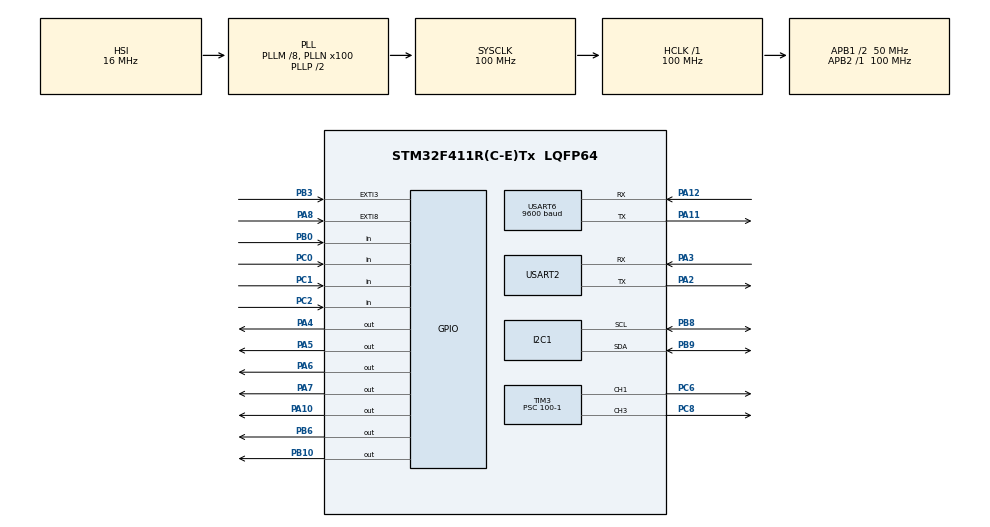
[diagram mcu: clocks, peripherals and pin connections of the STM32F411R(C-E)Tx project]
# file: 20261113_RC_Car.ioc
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FREERTOS.Mutexes01=lcdMutex,Dynamic,NULL,Available;sensorMutex,Dynamic,NULL,Available
FREERTOS.Queues01=btnQue,16,uint32_t,0,Dynamic,NULL,NULL;commQueue,16,uint32_t,0,Dynamic,NULL,NULL
FREERTOS.Tasks01=defaultTask,0,128,StartDefaultTask,Default,NULL,Dynamic,NULL,NULL;MotorTask,0,128,StartMotorTask,Default,NULL,Dynamic,NULL,NULL;ButtonTask,0,128,StartButtonTask,Default,NULL,Dynamic,NULL,NULL;CommTask,0,128,StartCommTask,Default,NULL,Dynamic,NULL,NULL;SensorTask,1,256,StartSensorTask,Default,NULL,Dynamic,NULL,NULL
FREERTOS.configUSE_NEWLIB_REENTRANT=1
Mcu.Family=STM32F4
Mcu.Name=STM32F411R(C-E)Tx
Mcu.Package=LQFP64
NVIC.EXTI3_IRQn=true\:5\:0\:false\:false\:true\:true\:true\:true\:true
NVIC.EXTI9_5_IRQn=true\:5\:0\:false\:false\:true\:true\:true\:true\:true
NVIC.PriorityGroup=NVIC_PRIORITYGROUP_4
NVIC.TIM1_UP_TIM10_IRQn=true\:15\:0\:false\:false\:true\:false\:false\:true\:true
NVIC.TimeBase=TIM1_UP_TIM10_IRQn
NVIC.TimeBaseIP=TIM10
NVIC.USART2_IRQn=true\:5\:0\:false\:false\:true\:true\:true\:true\:true
NVIC.USART6_IRQn=true\:5\:0\:false\:false\:true\:true\:true\:true\:true
PA10.Signal=GPIO_Output
PA11.Mode=Asynchronous
PA11.Signal=USART6_TX
PA12.Mode=Asynchronous
PA12.Signal=USART6_RX
PA13.Mode=Serial_Wire
PA13.Signal=SYS_JTMS-SWDIO
PA14.Mode=Serial_Wire
PA14.Signal=SYS_JTCK-SWCLK
PA2.Mode=Asynchronous
PA2.Signal=USART2_TX
PA3.Mode=Asynchronous
PA3.Signal=USART2_RX
PA4.Signal=GPIO_Output
PA5.Signal=GPIO_Output
PA6.Signal=GPIO_Output
PA7.Signal=GPIO_Output
PA8.GPIO_ModeDefaultEXTI=GPIO_MODE_IT_RISING_FALLING
PA8.Signal=GPXTI8
PB0.Signal=GPIO_Input
PB10.Signal=GPIO_Output
PB3.GPIO_ModeDefaultEXTI=GPIO_MODE_IT_RISING_FALLING
PB3.Signal=GPXTI3
PB6.Signal=GPIO_Output
PB8.Mode=I2C
PB8.Signal=I2C1_SCL
PB9.Mode=I2C
PB9.Signal=I2C1_SDA
PC0.Signal=GPIO_Input
PC1.Signal=GPIO_Input
PC2.Signal=GPIO_Input
PC6.Signal=S_TIM3_CH1
PC8.Signal=S_TIM3_CH3
PH0\ -\ OSC_IN.Mode=HSE-External-Oscillator
PH0\ -\ OSC_IN.Signal=RCC_OSC_IN
PH1\ -\ OSC_OUT.Mode=HSE-External-Oscillator
PH1\ -\ OSC_OUT.Signal=RCC_OSC_OUT
ProjectManager.HeapSize=0x200
ProjectManager.StackSize=0x400
ProjectManager.TargetToolchain=STM32CubeIDE
RCC.48MHZClocksFreq_Value=50000000
RCC.AHBFreq_Value=100000000
RCC.APB1CLKDivider=RCC_HCLK_DIV2
RCC.APB1Freq_Value=50000000
RCC.APB1TimFreq_Value=100000000
RCC.APB2Freq_Value=100000000
RCC.APB2TimFreq_Value=100000000
RCC.CortexFreq_Value=100000000
RCC.HCLKFreq_Value=100000000
RCC.HSE_VALUE=8000000
RCC.HSI_VALUE=16000000
RCC.LSE_VALUE=32768
RCC.PLLM=8
RCC.PLLN=100
RCC.SYSCLKFreq_VALUE=100000000
RCC.SYSCLKSource=RCC_SYSCLKSOURCE_PLLCLK
RCC.VCOOutputFreq_Value=200000000
SH.S_TIM3_CH1.0=TIM3_CH1,PWM Generation1 CH1
SH.S_TIM3_CH3.0=TIM3_CH3,PWM Generation3 CH3
TIM3.AutoReloadPreload=TIM_AUTORELOAD_PRELOAD_ENABLE
TIM3.Channel-PWM\ Generation1\ CH1=TIM_CHANNEL_1
TIM3.Channel-PWM\ Generation3\ CH3=TIM_CHANNEL_3
TIM3.Period=1000-1
TIM3.Prescaler=100-1
USART2.VirtualMode=VM_ASYNC
USART6.BaudRate=9600
USART6.VirtualMode=VM_ASYNC
VP_FREERTOS_VS_CMSIS_V1.Mode=CMSIS_V1
VP_SYS_VS_tim10.Mode=TIM10
VP_TIM3_VS_ClockSourceINT.Mode=Internal
board=custom

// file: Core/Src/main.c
/* USER CODE BEGIN Header */
/**
  ******************************************************************************
  * @file           : main.c
  * @brief          : Main program body
  ******************************************************************************
  * @attention
  *
  * Copyright (c) 2026 STMicroelectronics.
  * All rights reserved.
  *
  * This software is licensed under terms that can be found in the LICENSE file
  * in the root directory of this software component.
  * If no LICENSE file comes with this software, it is provided AS-IS.
  *
  ******************************************************************************
  */
/* USER CODE END Header */
#include "main.h"
#include "cmsis_os.h"
#include "i2c.h"
#include "tim.h"
#include "usart.h"
#include "gpio.h"

void SystemClock_Config(void);
void MX_FREERTOS_Init(void);

int main(void)
{

  /* MCU Configuration--------------------------------------------------------*/

  /* Reset of all peripherals, Initializes the Flash interface and the Systick. */
  HAL_Init();

  /* Configure the system clock */
  SystemClock_Config();

  /* Initialize all configured peripherals */
  MX_GPIO_Init();
  MX_TIM3_Init();
  MX_USART2_UART_Init();
  MX_USART6_UART_Init();
  MX_I2C1_Init();

  /* Call init function for freertos objects (in cmsis_os2.c) */
  MX_FREERTOS_Init();

  /* Start scheduler */
  osKernelStart();

  /* We should never get here as control is now taken by the scheduler */

  /* Infinite loop */
  while (1)
  {

  }
}

void SystemClock_Config(void)
{
  RCC_OscInitTypeDef RCC_OscInitStruct = {0};
  RCC_ClkInitTypeDef RCC_ClkInitStruct = {0};

  /** Configure the main internal regulator output voltage
  */
  __HAL_RCC_PWR_CLK_ENABLE();
  __HAL_PWR_VOLTAGESCALING_CONFIG(PWR_REGULATOR_VOLTAGE_SCALE1);

  /** Initializes the RCC Oscillators according to the specified parameters
  * in the RCC_OscInitTypeDef structure.
  */
  RCC_OscInitStruct.OscillatorType = RCC_OSCILLATORTYPE_HSI;
  RCC_OscInitStruct.HSIState = RCC_HSI_ON;
  RCC_OscInitStruct.HSICalibrationValue = RCC_HSICALIBRATION_DEFAULT;
  RCC_OscInitStruct.PLL.PLLState = RCC_PLL_ON;
  RCC_OscInitStruct.PLL.PLLSource = RCC_PLLSOURCE_HSI;
  RCC_OscInitStruct.PLL.PLLM = 8;
  RCC_OscInitStruct.PLL.PLLN = 100;
  RCC_OscInitStruct.PLL.PLLP = RCC_PLLP_DIV2;
  RCC_OscInitStruct.PLL.PLLQ = 4;
  if (HAL_RCC_OscConfig(&RCC_OscInitStruct) != HAL_OK)
  {
    Error_Handler();
  }

  /** Initializes the CPU, AHB and APB buses clocks
  */
  RCC_ClkInitStruct.ClockType = RCC_CLOCKTYPE_HCLK|RCC_CLOCKTYPE_SYSCLK
                              |RCC_CLOCKTYPE_PCLK1|RCC_CLOCKTYPE_PCLK2;
  RCC_ClkInitStruct.SYSCLKSource = RCC_SYSCLKSOURCE_PLLCLK;
  RCC_ClkInitStruct.AHBCLKDivider = RCC_SYSCLK_DIV1;
  RCC_ClkInitStruct.APB1CLKDivider = RCC_HCLK_DIV2;
  RCC_ClkInitStruct.APB2CLKDivider = RCC_HCLK_DIV1;

  if (HAL_RCC_ClockConfig(&RCC_ClkInitStruct, FLASH_LATENCY_3) != HAL_OK)
  {
    Error_Handler();
  }
}

void HAL_TIM_PeriodElapsedCallback(TIM_HandleTypeDef *htim)
{
  if (htim->Instance == TIM10)
  {
    HAL_IncTick();
  }
}

void Error_Handler(void)
{
  __disable_irq();
  while (1)
  {
  }
}

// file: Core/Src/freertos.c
/* USER CODE BEGIN Header */
/**
 ******************************************************************************
 * File Name          : freertos.c
 * Description        : Code for freertos applications
 ******************************************************************************
 * @attention
 *
 * Copyright (c) 2026 STMicroelectronics.
 * All rights reserved.
 *
 * This software is licensed under terms that can be found in the LICENSE file
 * in the root directory of this software component.
 * If no LICENSE file comes with this software, it is provided AS-IS.
 *
 ******************************************************************************
 */
/* USER CODE END Header */

#include "FreeRTOS.h"
#include "task.h"
#include "main.h"
#include "cmsis_os.h"

/* USER CODE BEGIN Includes */
#include "ap/task/button_task/button_task.h"
#include "ap/task/motor_control_task/motor_control_task.h"
#include "ap/task/comm_task/comm_task.h"
#include "ap/task/sensor_task/sensor_task.h"   // [자동 구조 추가]
#include "i2c.h"
#include "driver/lcd/lcd.h"
#include <stdio.h>
/* USER CODE END Includes */

osThreadId defaultTaskHandle;
osThreadId MotorTaskHandle;
osThreadId ButtonTaskHandle;
osThreadId CommTaskHandle;
osThreadId SensorTaskHandle;
osMessageQId btnQueHandle;
osMessageQId commQueueHandle;
osMutexId lcdMutexHandle;
osMutexId sensorMutexHandle;

void StartDefaultTask(void const * argument);
void StartMotorTask(void const * argument);
void StartButtonTask(void const * argument);
void StartCommTask(void const * argument);
void StartSensorTask(void const * argument);

void MX_FREERTOS_Init(void); /* (MISRA C 2004 rule 8.1) */

/* GetIdleTaskMemory prototype (linked to static allocation support) */
void vApplicationGetIdleTaskMemory( StaticTask_t **ppxIdleTaskTCBBuffer, StackType_t **ppxIdleTaskStackBuffer, uint32_t *pulIdleTaskStackSize );

/* USER CODE BEGIN GET_IDLE_TASK_MEMORY */
static StaticTask_t xIdleTaskTCBBuffer;
static StackType_t xIdleStack[configMINIMAL_STACK_SIZE];

void vApplicationGetIdleTaskMemory( StaticTask_t **ppxIdleTaskTCBBuffer, StackType_t **ppxIdleTaskStackBuffer, uint32_t *pulIdleTaskStackSize )
{
	*ppxIdleTaskTCBBuffer = &xIdleTaskTCBBuffer;
	*ppxIdleTaskStackBuffer = &xIdleStack[0];
	*pulIdleTaskStackSize = configMINIMAL_STACK_SIZE;
	/* place for user code */
}
/* USER CODE END GET_IDLE_TASK_MEMORY */

void MX_FREERTOS_Init(void) {
  /* Create the mutex(es) */
  /* definition and creation of lcdMutex */
  osMutexDef(lcdMutex);
  lcdMutexHandle = osMutexCreate(osMutex(lcdMutex));

  /* definition and creation of sensorMutex */
  osMutexDef(sensorMutex);
  sensorMutexHandle = osMutexCreate(osMutex(sensorMutex));

  /* Create the queue(s) */
  /* definition and creation of btnQue */
  osMessageQDef(btnQue, 16, uint32_t);
  btnQueHandle = osMessageCreate(osMessageQ(btnQue), NULL);

  /* definition and creation of commQueue */
  osMessageQDef(commQueue, 16, uint32_t);
  commQueueHandle = osMessageCreate(osMessageQ(commQueue), NULL);

  /* Create the thread(s) */
  /* definition and creation of defaultTask */
  osThreadDef(defaultTask, StartDefaultTask, osPriorityNormal, 0, 128);
  defaultTaskHandle = osThreadCreate(osThread(defaultTask), NULL);

  /* definition and creation of MotorTask */
  osThreadDef(MotorTask, StartMotorTask, osPriorityNormal, 0, 128);
  MotorTaskHandle = osThreadCreate(osThread(MotorTask), NULL);

  /* definition and creation of ButtonTask */
  osThreadDef(ButtonTask, StartButtonTask, osPriorityNormal, 0, 128);
  ButtonTaskHandle = osThreadCreate(osThread(ButtonTask), NULL);

  /* definition and creation of CommTask */
  osThreadDef(CommTask, StartCommTask, osPriorityNormal, 0, 128);
  CommTaskHandle = osThreadCreate(osThread(CommTask), NULL);

  /* definition and creation of SensorTask */
  osThreadDef(SensorTask, StartSensorTask, osPriorityAboveNormal, 0, 256);
  SensorTaskHandle = osThreadCreate(osThread(SensorTask), NULL);

}

void StartDefaultTask(void const * argument)
{
  /* USER CODE BEGIN StartDefaultTask */
	if (osMutexWait(lcdMutexHandle, osWaitForever) == osOK) {
		Lcd_init(&hi2c1);
		osMutexRelease(lcdMutexHandle);
	}
	/* Infinite loop */
	for(;;)
	{
		osDelay(1);
	}
  /* USER CODE END StartDefaultTask */
}

void StartMotorTask(void const * argument)
{
  /* USER CODE BEGIN StartMotorTask */
	motor_control_task_init();
	/* Infinite loop */
	for(;;)
	{
		motor_control_task();
		osDelay(10);
	}
  /* USER CODE END StartMotorTask */
}

void StartButtonTask(void const * argument)
{
  /* USER CODE BEGIN StartButtonTask */
	button_task_init();
	/* Infinite loop */
	for(;;)
	{
		button_task();
		osDelay(10);
	}
  /* USER CODE END StartButtonTask */
}

void StartCommTask(void const * argument)
{
  /* USER CODE BEGIN StartCommTask */
	comm_task_init();
	/* Infinite loop */
	for(;;)
	{
		comm_task();
		osDelay(1);
	}
  /* USER CODE END StartCommTask */
}

void StartSensorTask(void const * argument)
{
  /* USER CODE BEGIN StartSensorTask */
	/* [자동 구조 추가] 초음파 센서 태스크 */
	sensor_task_init();
	/* Infinite loop */
	for(;;)
	{
		sensor_task();   // 센서 3개 측정 (왼쪽 -> 중앙 -> 오른쪽, 사이 15ms)
		osDelay(20);     // 오른쪽 측정 후 다음 왼쪽 측정까지 20ms 간격 (초음파 간섭 방지)
	}
  /* USER CODE END StartSensorTask */
}
